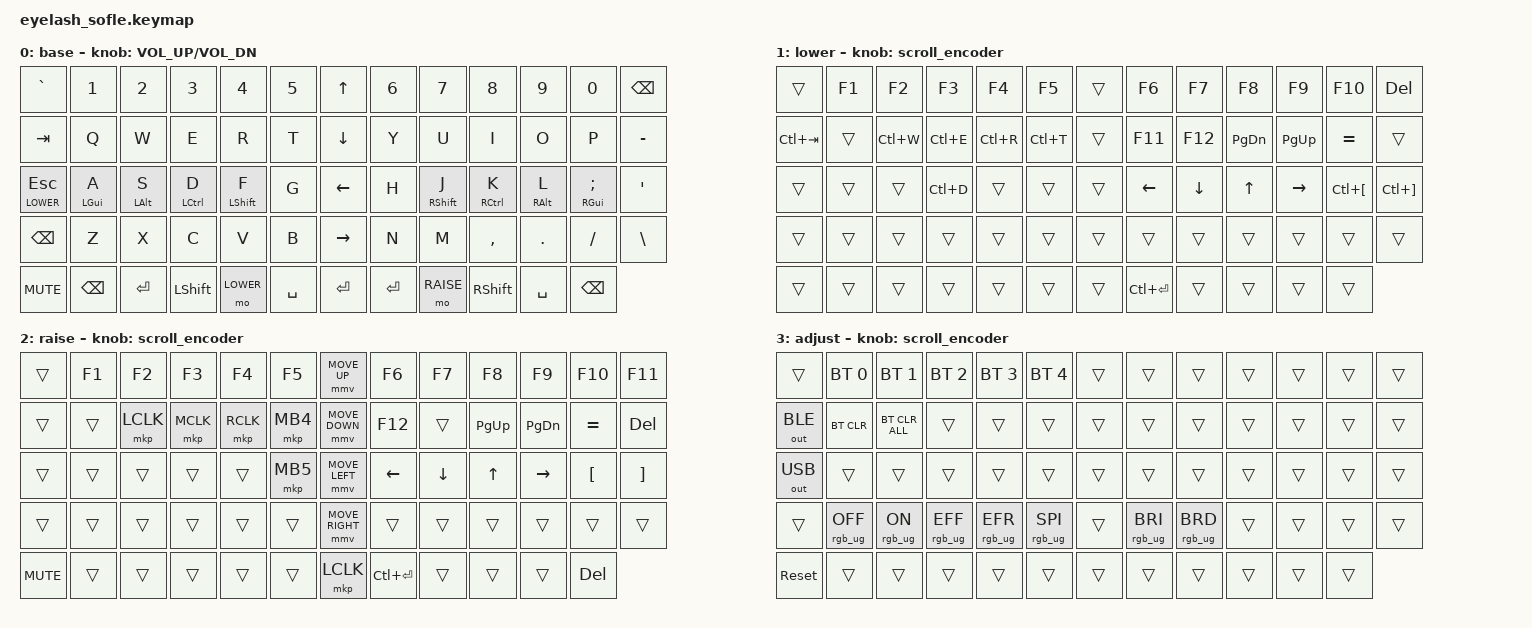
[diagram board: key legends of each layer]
#include <behaviors.dtsi>

#include "zmk-helpers/helper.h"
#include "zmk-helpers/key-labels/sofle.h"

#include <dt-bindings/zmk/keys.h>
#include <dt-bindings/zmk/bt.h>
#include <dt-bindings/zmk/outputs.h>
#include <dt-bindings/zmk/rgb.h>

#define BASE 0
#define RAISE 1
#define LOWER 2
#define ADJUST 3


/* Homerow mods */

#define KEYS_L LT0 LT1 LT2 LT3 LT4 LT5 LM0 LM1 LM2 LM3 LM4 LM5 LB0 LB1 LB2 LB3 LB4 LB5  // Left-hand keys.
#define KEYS_R RT0 RT1 RT2 RT3 RT4 RT5 RM0 RM1 RM2 RM3 RM4 RM5 RB0 RB1 RB2 RB3 RB4 RB5  // Right-hand keys.
#define THUMBS LH4 LH3 LH2 LH1 LH0 RH0 RH1 RH2 RH3 RH4                                  // Thumb keys.

/* Left-hand HRMs. */
ZMK_HOLD_TAP(hml,
    flavor = "balanced";
    tapping-term-ms = <280>;
    quick-tap-ms = <175>;
    require-prior-idle-ms = <100>;
    bindings = <&kp>, <&kp>;
    hold-trigger-key-positions = <KEYS_R THUMBS>;
    hold-trigger-on-release;
)

/* Right-hand HRMs. */
ZMK_HOLD_TAP(hmr,
    flavor = "balanced";
    tapping-term-ms = <280>;
    quick-tap-ms = <175>;
    require-prior-idle-ms = <100>;
    bindings = <&kp>, <&kp>;
    hold-trigger-key-positions = <KEYS_L THUMBS>;
    hold-trigger-on-release;
)

/* mouse emulation */

#include "mouse.dtsi"

/* adjust */
ZMK_CONDITIONAL_LAYER(adjust, RAISE LOWER, ADJUST)

/ {
    scroll_encoder: scroll_encoder {
        compatible = "zmk,behavior-sensor-rotate";
        #sensor-binding-cells = <0>;
        bindings = <&msc SCRL_DOWN>, <&msc SCRL_UP>;

        tap-ms = <100>;
    };


    keymap {
        compatible = "zmk,keymap";

base {
            bindings = <
&kp GRAVE       &kp N1        &kp N2      &kp N3       &kp N4        &kp N5    &kp UP       &kp N6    &kp N7        &kp N8       &kp N9      &kp N0         &kp BACKSPACE
&kp TAB         &kp Q         &kp W       &kp E        &kp R         &kp T     &kp DOWN     &kp Y     &kp U         &kp I        &kp O       &kp P          &kp MINUS
&lt LOWER ESC   &hml LGUI A   &hml LALT S &hml LCTRL D &hml LSHIFT F &kp G     &kp LEFT     &kp H     &hmr RSHIFT J &hmr RCTRL K &hmr RALT L &hmr RGUI SEMI &kp APOS
&kp BACKSPACE   &kp Z         &kp X       &kp C        &kp V         &kp B     &kp RIGHT    &kp N     &kp M         &kp COMMA    &kp DOT     &kp FSLH       &kp BSLH
&kp C_MUTE      &kp BACKSPACE &kp ENTER   &kp LSHIFT   &mo LOWER     &kp SPACE &kp ENTER    &kp ENTER &mo RAISE     &kp RSHIFT   &kp SPACE   &kp BACKSPACE 
            >;

    sensor-bindings = <&inc_dec_kp C_VOL_UP C_VOL_DN>;
};

            
lower {
bindings = <
&trans      &kp F1 &kp F2    &kp F3    &kp F4    &kp F5    &trans &kp F6        &kp F7    &kp F8        &kp F9      &kp F10                   &kp DELETE
&kp LC(TAB) &trans &kp LC(W) &kp LC(E) &kp LC(R) &kp LC(T) &trans &kp F11       &kp F12   &kp PAGE_DOWN &kp PAGE_UP &kp EQUAL                 &trans
&trans      &trans &trans    &kp LC(D) &trans    &trans    &trans &kp LEFT      &kp DOWN  &kp UP        &kp RIGHT   &kp LC(LEFT_BRACKET)      &kp LC(RIGHT_BRACKET)
&trans      &trans &trans    &trans    &trans    &trans    &trans &trans        &trans    &trans        &trans      &trans                    &trans
&trans      &trans &trans    &trans    &trans    &trans    &trans &kp LC(ENTER) &trans    &trans        &trans      &trans
 >;

     display-name = "lower";
     sensor-bindings = <&scroll_encoder>;
};
 
 raise {
 bindings = <
&trans     &kp F1 &kp F2    &kp F3    &kp F4    &kp F5   &mmv MOVE_UP    &kp F6          &kp F7   &kp F8      &kp F9        &kp F10            &kp F11
&trans     &trans &mkp LCLK &mkp MCLK &mkp RCLK &mkp MB4 &mmv MOVE_DOWN  &kp F12         &trans   &kp PAGE_UP &kp PAGE_DOWN &kp EQUAL          &kp DELETE
&trans     &trans &trans    &trans    &trans    &mkp MB5 &mmv MOVE_LEFT  &kp LEFT        &kp DOWN &kp UP      &kp RIGHT     &kp LEFT_BRACKET   &kp RIGHT_BRACKET
&trans     &trans &trans    &trans    &trans    &trans   &mmv MOVE_RIGHT &trans          &trans   &trans      &trans        &trans             &trans
&kp C_MUTE &trans &trans    &trans    &trans    &trans   &mkp LCLK       &kp LC(ENTER)   &trans   &trans      &trans        &kp DELETE
 >;

     display-name = "raise";
     sensor-bindings = <&scroll_encoder>;
 };

 adjust {
 bindings = <
&trans         &bt BT_SEL 0    &bt BT_SEL 1   &bt BT_SEL 2    &bt BT_SEL 3    &bt BT_SEL 4    &trans &trans          &trans          &trans &trans &trans &trans
&out OUT_BLE   &bt BT_CLR      &bt BT_CLR_ALL &trans          &trans          &trans          &trans &trans          &trans          &trans &trans &trans &trans
&out OUT_USB   &trans          &trans         &trans          &trans          &trans          &trans &trans          &trans          &trans &trans &trans &trans
&trans         &rgb_ug RGB_OFF &rgb_ug RGB_ON &rgb_ug RGB_EFF &rgb_ug RGB_EFR &rgb_ug RGB_SPI &trans &rgb_ug RGB_BRI &rgb_ug RGB_BRD &trans &trans &trans &trans
&sys_reset     &trans          &trans         &trans          &trans          &trans          &trans &trans          &trans          &trans &trans &trans
            >;

            display-name = "adjust";
            sensor-bindings = <&scroll_encoder>;
        };
    };
};
